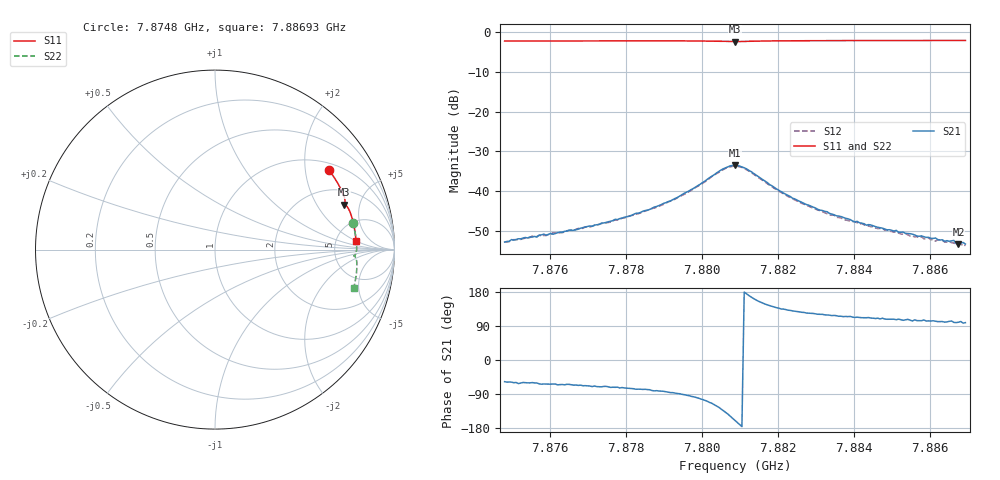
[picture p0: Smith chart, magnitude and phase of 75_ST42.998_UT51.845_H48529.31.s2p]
#  HZ  S  DB  R  50.00
! Rohde & Schwarz Vector Network Analyzer
! Rohde-Schwarz,ZNB20-2Port,1311601062101988,3.16
! Created: UTC 1/12/2023, 6:34:45 PM
! freq[Hz]  db:S11  ang:S11  db:S21  ang:S21  db:S12  ang:S12  db:S22  ang:S22
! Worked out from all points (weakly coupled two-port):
!   201 points, 7.8748 GHz to 7.88693 GHz, reference 50 ohm
!   highest |S21| = -33.50 dB at 7.88086 GHz (marker M1); lowest = -53.4 dB at 7.88674 GHz (marker M2)
!   lowest |S11| = -2.4 dB at 7.88086 GHz (marker M3), VSWR 7.42, Z = 149 + j178 ohm
!   |S11| at or under -10 dB: nowhere
!   |S22| runs from -2.2 to -1.9 dB; largest |S21 - S12| = 0.0014
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7.874795e9  -2.23 35.1  -52.78 -57.2  -52.72 -61.0  -2.15 11.1
7.876858e9  -2.19 29.5  -49.13 -67.9  -49.34 -69.9  -2.08 6.2
7.877767e9  -2.18 27.0  -47.14 -71.6  -47.22 -75.9  -2.07 4.1
7.878859e9  -2.18 24.0  -43.62 -82.0  -43.74 -85.0  -2.06 1.5
7.879587e9  -2.19 21.9  -40.23 -93.0  -40.47 -96.0  -2.06 -0.3
7.880557e9  -2.32 19.3  -34.34 -133.6  -34.55 -136.9  -2.19 -2.5
7.880861e9  -2.35 19.1  -33.50 -159.5  -33.69 -163.0  -2.22 -2.6
7.881164e9  -2.31 18.9  -34.37 174.7  -34.59 171.5  -2.18 -2.7
7.882134e9  -2.16 16.4  -40.46 134.3  -40.61 130.7  -2.02 -4.7
7.882923e9  -2.13 14.1  -43.99 122.8  -44.25 118.6  -1.99 -6.5
7.88353e9  -2.11 12.5  -46.18 117.0  -46.57 112.6  -1.97 -7.9
7.884015e9  -2.11 11.2  -47.69 112.3  -47.73 110.4  -1.96 -9.1
7.884925e9  -2.09 8.8  -49.69 107.6  -50.06 104.3  -1.94 -11.1
7.885834e9  -2.09 6.4  -51.46 105.8  -51.97 99.3  -1.93 -13.1
7.885956e9  -2.09 6.1  -51.61 103.3  -51.73 100.2  -1.93 -13.3
7.886138e9  -2.08 5.6  -51.76 102.4  -52.55 98.7  -1.92 -13.7
7.886259e9  -2.08 5.3  -52.28 101.5  -52.21 97.6  -1.93 -14.0
7.88638e9  -2.08 5.0  -52.59 99.9  -52.77 99.9  -1.93 -14.3
7.886623e9  -2.08 4.3  -52.38 99.2  -53.07 99.5  -1.92 -14.7
7.886744e9  -2.07 4.0  -53.38 99.6  -53.09 97.3  -1.92 -15.0
7.886865e9  -2.08 3.7  -52.89 97.3  -53.82 97.1  -1.92 -15.3
7.886926e9  -2.07 3.5  -53.29 98.6  -53.58 97.9  -1.92 -15.4
